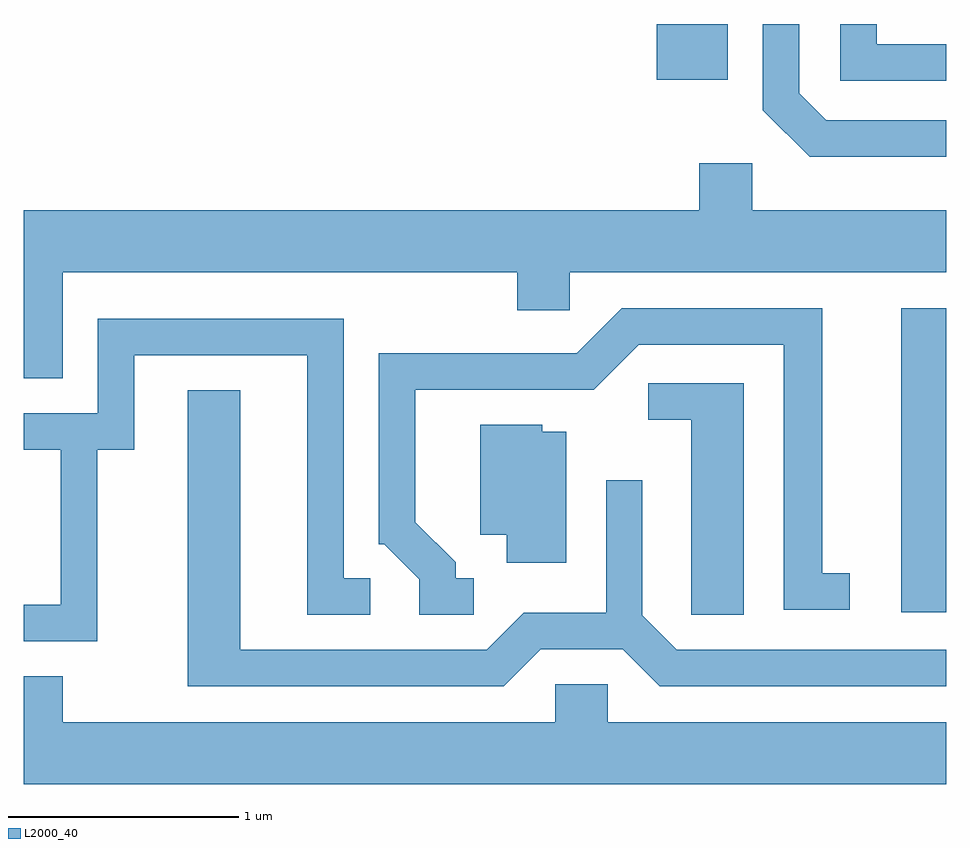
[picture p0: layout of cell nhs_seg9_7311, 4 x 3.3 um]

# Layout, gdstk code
import gdstk
lib = gdstk.Library(unit=1e-6, precision=1e-09)
def R(c, l, rs):  # rectangles x0, y0, x1, y1
    for r in rs: c.add(gdstk.rectangle(r[:2], r[2:], *l))
def P(c, l, *ps):  # polygons
    for p in ps: c.add(gdstk.Polygon(p, *l))
L2000_40 = (2000, 40)

nhs_seg9_7311 = lib.new_cell('nhs_seg9_7311')
R(nhs_seg9_7311, L2000_40, [(405.416,2005.881,405.611,2007.199), (404.356,2008.191,404.664,2008.432)])
P(nhs_seg9_7311, L2000_40, [(405.611,2008.014),(405.092,2008.014),(404.974,2008.132),(404.974,2008.432),(404.816,2008.432),(404.816,2008.059),(405.019,2007.856),(405.611,2007.856)],
  [(405.611,2008.344),(405.309,2008.344),(405.309,2008.432),(405.151,2008.432),(405.151,2008.186),(405.611,2008.186)],
  [(405.611,2007.624),(404.769,2007.624),(404.769,2007.829),(404.541,2007.829),(404.541,2007.624),(401.611,2007.624),(401.611,2006.896),(401.779,2006.896),(401.779,2007.356),(403.751,2007.356),(403.751,2007.191),(403.979,2007.191),(403.979,2007.356),(405.611,2007.356)],
  [(403.563,2006.029),(403.484,2006.029),(403.484,2006.097),(403.309,2006.272),(403.309,2006.846),(404.082,2006.846),(404.277,2007.041),(404.906,2007.041),(404.906,2005.891),(405.193,2005.891),(405.193,2006.049),(405.074,2006.049),(405.074,2007.199),(404.204,2007.199),(404.009,2007.004),(403.151,2007.004),(403.151,2006.176),(403.174,2006.176),(403.326,2006.024),(403.326,2005.871),(403.563,2005.871)],
  [(401.929,2006.586),(402.089,2006.586),(402.089,2006.996),(402.841,2006.996),(402.841,2005.871),(403.113,2005.871),(403.113,2006.029),(402.999,2006.029),(402.999,2007.154),(401.931,2007.154),(401.931,2006.744),(401.611,2006.744),(401.611,2006.586),(401.771,2006.586),(401.771,2005.914),(401.611,2005.914),(401.611,2005.756),(401.929,2005.756)],
  [(404.734,2006.874),(404.318,2006.874),(404.318,2006.716),(404.506,2006.716),(404.506,2005.871),(404.734,2005.871)],
  [(403.852,2005.721),(404.209,2005.721),(404.369,2005.561),(405.611,2005.561),(405.611,2005.719),(404.442,2005.719),(404.294,2005.867),(404.294,2006.453),(404.136,2006.453),(404.136,2005.879),(403.779,2005.879),(403.619,2005.719),(402.549,2005.719),(402.549,2006.844),(402.321,2006.844),(402.321,2005.561),(403.692,2005.561)],
  [(403.964,2006.664),(403.859,2006.664),(403.859,2006.694),(403.591,2006.694),(403.591,2006.216),(403.706,2006.216),(403.706,2006.096),(403.964,2006.096)],
  [(405.611,2005.404),(404.144,2005.404),(404.144,2005.569),(403.916,2005.569),(403.916,2005.404),(401.779,2005.404),(401.779,2005.604),(401.611,2005.604),(401.611,2005.136),(405.611,2005.136)])

lib.write_gds('nhs_seg9_7311.gds')
